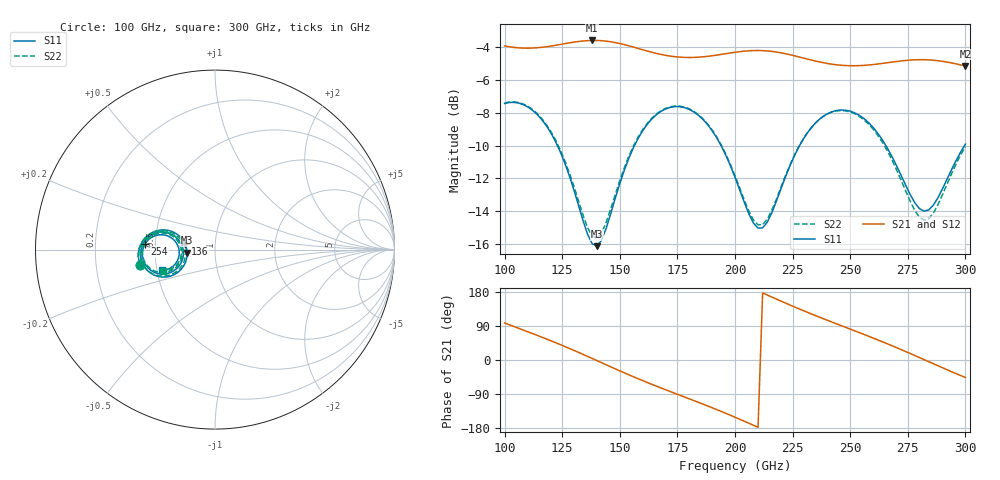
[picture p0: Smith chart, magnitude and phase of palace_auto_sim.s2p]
#  GHZ S DB R 50
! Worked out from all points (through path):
!   101 points, 100 GHz to 300 GHz, reference 50 ohm
!   highest |S21| = -3.59 dB at 138 GHz (marker M1); lowest = -5.1 dB at 300 GHz (marker M2)
!   group delay of S21, straight-line fit = 7 ps
!   lowest |S11| = -16.1 dB at 140 GHz (marker M3), VSWR 1.37, Z = 36.5 - j1.29 ohm
!   |S11| at or under -10 dB: 122.9 GHz to 156.4 GHz (33.43 GHz wide, 23.9 % of centre); 194 GHz to 228 GHz (34.05 GHz wide, 16.1 % of centre); 265.5 GHz to 299.6 GHz (34.13 GHz wide, 12.1 % of centre)
!   |S22| runs from -15.7 to -7.3 dB; largest |S21 - S12| = 1.1e-13
!   S11 on the Smith chart (normalised r, x): 100 GHz: 0.41, -0.09; 136 GHz: 0.71, +0.05; 254 GHz: 0.44, +0.03; 300 GHz: 0.53, -0.14
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100  -7.43 -168.3  -3.92 97.7  -3.92 97.7  -7.40 -168.1
108  -7.49 179.2  -4.05 79.3  -4.05 79.3  -7.46 179.7
118  -8.76 165.1  -3.97 55.8  -3.97 55.8  -8.69 165.8
134  -14.55 163.3  -3.62 15.0  -3.62 15.0  -14.21 164.4
136  -15.40 169.1  -3.60 9.5  -3.60 9.5  -14.99 170.0
138  -15.98 177.1  -3.59 4.1  -3.59 4.1  -15.52 177.4
140  -16.13 -173.7  -3.59 -1.4  -3.59 -1.4  -15.65 -174.2
146  -14.17 -152.7  -3.66 -17.9  -3.66 -17.9  -13.88 -154.5
154  -10.74 -149.3  -3.92 -39.3  -3.92 -39.3  -10.63 -150.9
168  -7.90 -165.4  -4.44 -74.1  -4.44 -74.1  -7.86 -166.4
184  -8.13 172.6  -4.61 -111.5  -4.61 -111.5  -8.10 171.9
200  -11.93 160.6  -4.31 -151.0  -4.31 -151.0  -11.84 160.3
208  -14.72 174.0  -4.20 -172.2  -4.20 -172.2  -14.53 173.3
212  -15.01 -172.2  -4.21 176.9  -4.21 176.9  -14.81 -173.4
222  -11.87 -152.9  -4.40 150.0  -4.40 150.0  -11.80 -154.6
234  -8.76 -160.1  -4.81 119.5  -4.81 119.5  -8.76 -161.8
244  -7.86 -172.3  -5.07 95.6  -5.07 95.6  -7.89 -174.0
254  -8.16 175.3  -5.12 72.2  -5.12 72.2  -8.22 173.5
268  -10.63 163.9  -4.91 38.0  -4.91 38.0  -10.83 161.7
282  -14.00 -177.8  -4.76 1.2  -4.76 1.2  -14.54 -178.3
290  -12.65 -160.5  -4.86 -20.2  -4.86 -20.2  -13.01 -159.2
300  -9.91 -158.7  -5.14 -46.2  -5.14 -46.2  -10.06 -157.5
